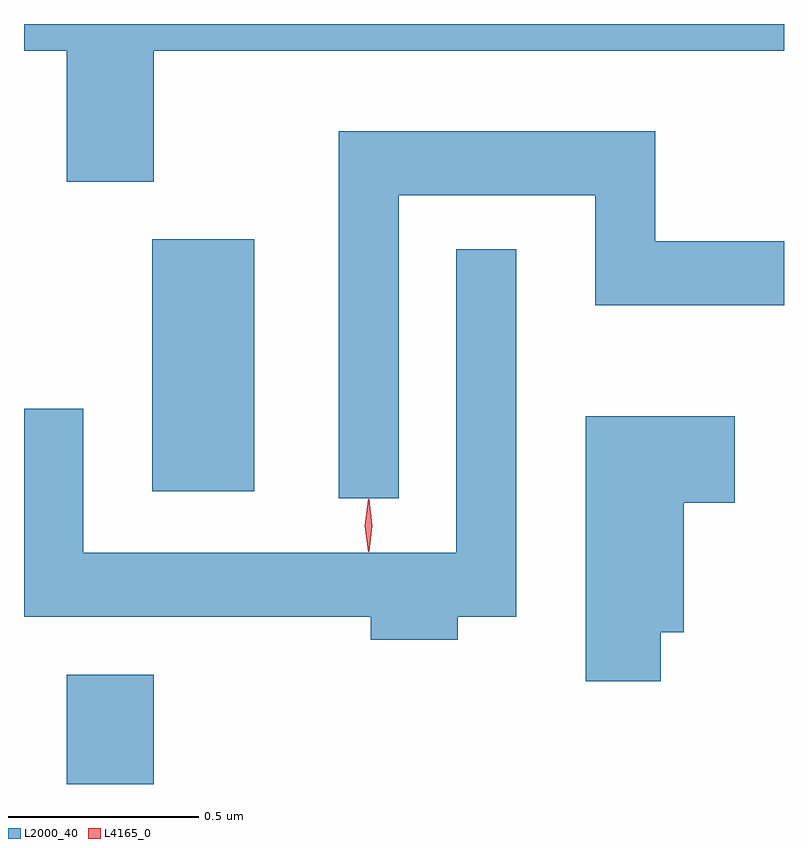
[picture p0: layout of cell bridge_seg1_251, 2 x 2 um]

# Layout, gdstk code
import gdstk
lib = gdstk.Library(unit=1e-6, precision=1e-09)
def R(c, l, rs):  # rectangles x0, y0, x1, y1
    for r in rs: c.add(gdstk.rectangle(r[:2], r[2:], *l))
def P(c, l, *ps):  # polygons
    for p in ps: c.add(gdstk.Polygon(p, *l))
L2000_40 = (2000, 40)
L4165_0 = (4165, 0)

bridge_seg1_251 = lib.new_cell('bridge_seg1_251')
R(bridge_seg1_251, L2000_40, [(836.641,895.426,836.869,895.714), (836.866,896.196,837.134,896.859)])
P(bridge_seg1_251, L2000_40, [(836.869,897.356),(838.528,897.356),(838.528,897.426),(836.528,897.426),(836.528,897.356),(836.641,897.356),(836.641,897.011),(836.869,897.011)],
  [(837.514,896.976),(838.031,896.976),(838.031,896.686),(838.528,896.686),(838.528,896.854),(838.189,896.854),(838.189,897.144),(837.356,897.144),(837.356,896.178),(837.514,896.178)],
  [(837.669,895.866),(837.824,895.866),(837.824,896.833),(837.666,896.833),(837.666,896.034),(836.684,896.034),(836.684,896.413),(836.528,896.413),(836.528,895.866),(837.441,895.866),(837.441,895.806),(837.669,895.806)],
  [(838.204,895.826),(838.264,895.826),(838.264,896.166),(838.399,896.166),(838.399,896.394),(838.006,896.394),(838.006,895.696),(838.204,895.696)])
P(bridge_seg1_251, L4165_0, [(837.434,896.037),(837.425,896.106),(837.434,896.176),(837.435,896.176),(837.436,896.176),(837.445,896.106),(837.436,896.037),(837.435,896.037)],
  [(837.435,896.039),(837.434,896.04),(837.425,896.106),(837.434,896.172),(837.435,896.173),(837.435,896.172),(837.445,896.106),(837.435,896.04)])

lib.write_gds('bridge_seg1_251.gds')
